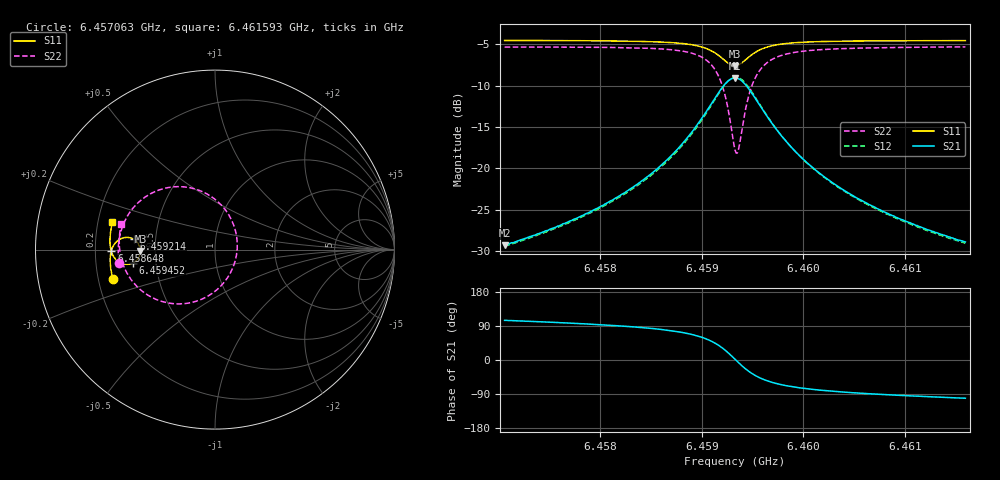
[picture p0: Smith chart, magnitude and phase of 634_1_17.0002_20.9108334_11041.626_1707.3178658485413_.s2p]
#  HZ  S  RI  R  50.00
! Rohde & Schwarz Vector Network Analyzer
! Rohde-Schwarz,ZNB20-2Port,1311601062101988,3.16
! Created: UTC 3/20/2024, 11:20:27 PM
! freq[Hz]  re:S11  im:S11  re:S21  im:S21  re:S12  im:S12  re:S22  im:S22
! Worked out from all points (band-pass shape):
!   401 points, 6.457063 GHz to 6.461593 GHz, reference 50 ohm
!   highest |S21| = -9.08 dB at 6.459328 GHz (marker M1); lowest = -29.3 dB at 6.457063 GHz (marker M2)
!   |S21| within 3 dB of the highest: 6.459102 GHz to 6.459554 GHz (452.9 kHz wide, 0.00701 % of centre)
!   lowest |S11| = -7.6 dB at 6.459328 GHz (marker M3), VSWR 2.42, Z = 20.7 - j0.36 ohm
!   |S11| at or under -10 dB: nowhere
!   |S22| runs from -18.2 to -5.3 dB; largest |S21 - S12| = 0.014
!   S11 on the Smith chart (normalised r, x): 6.457063 GHz: 0.26, -0.13; 6.458648 GHz: 0.27, -0.00; 6.459214 GHz: 0.38, +0.05; 6.459452 GHz: 0.37, -0.07; 6.461593 GHz: 0.26, +0.12
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6.4570625e9  -0.5686 -0.1655  -0.00864 0.0331  -0.00681 0.0331  -0.5348 -0.0767
6.4578213e9  -0.5817 -0.0987  -0.00527 0.0513  -0.00251 0.0507  -0.5389 0.0134
6.4582517e9  -0.584 -0.0553  0.00137 0.0718  0.00469 0.0702  -0.5293 0.0829
6.4585802e9  -0.5797 -0.0156  0.0154 0.1002  0.0194 0.0973  -0.503 0.1587
6.4586481e9  -0.5774 -0.00602  0.0209 0.1086  0.0251 0.1055  -0.4926 0.1788
6.4588407e9  -0.5644 0.0244  0.048 0.1399  0.0521 0.1347  -0.4415 0.2483
6.4589879e9  -0.5412 0.0505  0.0943 0.1706  0.0975 0.1636  -0.356 0.3129
6.4591238e9  -0.4967 0.0679  0.1829 0.1867  0.1837 0.1793  -0.1939 0.3505
6.4592144e9  -0.4516 0.0571  0.2739 0.1547  0.2741 0.1486  -0.0249 0.2981
6.4592824e9  -0.4222 0.0244  0.335 0.0811  0.3373 0.0761  0.0919 0.1657
6.4593277e9  -0.4153 -0.00721  0.3513 0.0121  0.3552 0.0051  0.124 0.0358
6.4593616e9  -0.4194 -0.0313  0.3452 -0.0414  0.3493 -0.0506  0.1117 -0.0656
6.4594069e9  -0.4353 -0.0579  0.3158 -0.1022  0.3182 -0.1143  0.0521 -0.1806
6.4594522e9  -0.4577 -0.0746  0.2727 -0.1436  0.272 -0.1573  -0.0354 -0.2567
6.4595428e9  -0.5018 -0.0815  0.1862 -0.1749  0.1799 -0.1867  -0.2082 -0.3025
6.4596108e9  -0.5265 -0.074  0.137 -0.1725  0.1287 -0.1816  -0.3035 -0.2864
6.4596901e9  -0.5463 -0.0607  0.0968 -0.1601  0.088 -0.1664  -0.3789 -0.2507
6.4598486e9  -0.5681 -0.0329  0.0513 -0.1313  0.0435 -0.1341  -0.46 -0.1768
6.4600865e9  -0.5809 0.00272  0.022 -0.0989  0.016 -0.0996  -0.5082 -0.0929
6.4604149e9  -0.5853 0.0424  0.00631 -0.0722  0.00204 -0.0717  -0.5291 -0.0151
6.4608453e9  -0.5833 0.0859  -0.00177 -0.0526  -0.00465 -0.0519  -0.5333 0.0555
6.4615928e9  -0.5711 0.1523  -0.00678 -0.0352  -0.00844 -0.0342  -0.5218 0.145
